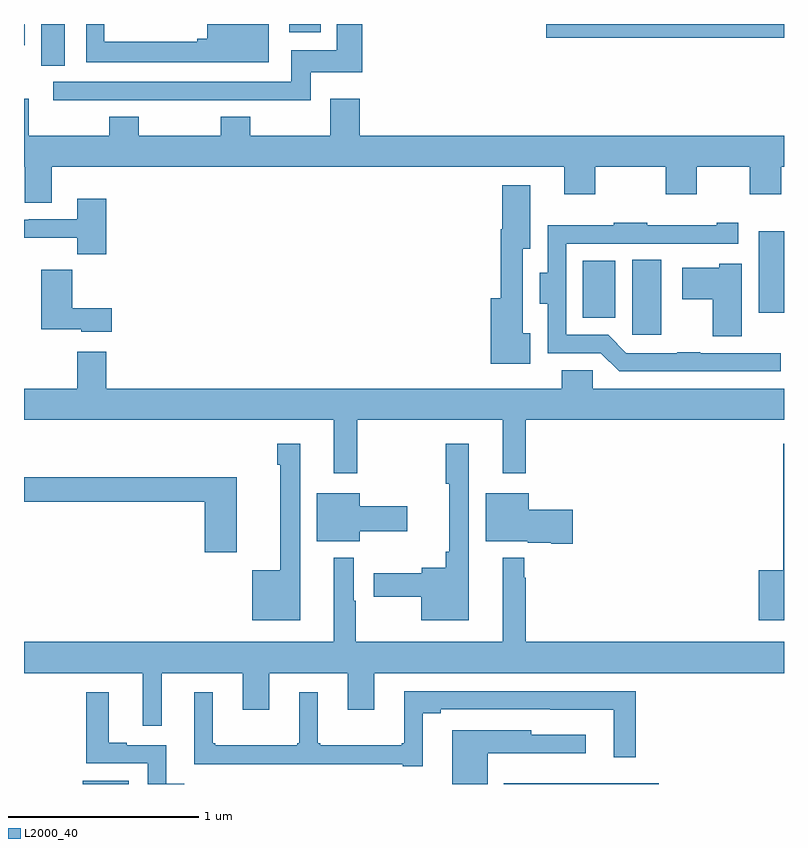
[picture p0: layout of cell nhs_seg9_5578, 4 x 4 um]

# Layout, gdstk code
import gdstk
lib = gdstk.Library(unit=1e-6, precision=1e-09)
def R(c, l, rs):  # rectangles x0, y0, x1, y1
    for r in rs: c.add(gdstk.rectangle(r[:2], r[2:], *l))
def P(c, l, *ps):  # polygons
    for p in ps: c.add(gdstk.Polygon(p, *l))
L2000_40 = (2000, 40)

nhs_seg9_5578 = lib.new_cell('nhs_seg9_5578')
R(nhs_seg9_5578, L2000_40, [(435.308,1198.5,435.55,1198.516), (437.525,1198.5,438.341,1198.504), (438.2,1200.864,438.355,1201.259), (437.942,1200.953,438.112,1201.255), (438.866,1200.981,439,1201.408), (435.092,1202.281,435.214,1202.5), (435,1202.388,435.004,1202.5), (437.749,1202.428,439,1202.5), (436.395,1202.456,436.561,1202.5)])
P(nhs_seg9_5578, L2000_40, [(436.288,1202.5),(435.965,1202.5),(435.965,1202.422),(435.912,1202.422),(435.912,1202.407),(435.422,1202.407),(435.422,1202.5),(435.328,1202.5),(435.328,1202.3),(436.288,1202.3)],
  [(435.947,1202.1),(436.279,1202.1),(436.279,1202.099),(436.51,1202.099),(436.51,1202.246),(436.781,1202.246),(436.781,1202.5),(436.646,1202.5),(436.646,1202.362),(436.406,1202.362),(436.406,1202.196),(435.153,1202.196),(435.153,1202.1),(435.691,1202.1),(435.691,1202.099),(435.947,1202.099)],
  [(435.145,1201.748),(437.843,1201.748),(437.843,1201.605),(438.007,1201.605),(438.007,1201.748),(438.377,1201.748),(438.377,1201.605),(438.541,1201.605),(438.541,1201.748),(438.821,1201.748),(438.821,1201.605),(438.985,1201.605),(438.985,1201.748),(439,1201.748),(439,1201.912),(436.766,1201.912),(436.766,1202.107),(436.613,1202.107),(436.613,1201.912),(436.191,1201.912),(436.191,1202.011),(436.036,1202.011),(436.036,1201.912),(435.603,1201.912),(435.603,1202.011),(435.448,1202.011),(435.448,1201.912),(435.025,1201.912),(435.025,1202.107),(435,1202.107),(435,1201.748),(435.005,1201.748),(435.005,1201.558),(435.145,1201.558)],
  [(437.665,1200.873),(437.625,1200.873),(437.625,1201.316),(437.665,1201.316),(437.665,1201.651),(437.516,1201.651),(437.516,1201.42),(437.509,1201.42),(437.509,1201.057),(437.456,1201.057),(437.456,1200.713),(437.665,1200.713)],
  [(435.434,1201.579),(435.281,1201.579),(435.281,1201.473),(435.025,1201.473),(435.025,1201.47),(435,1201.47),(435,1201.376),(435.279,1201.376),(435.279,1201.289),(435.434,1201.289)],
  [(438.982,1200.768),(438.56,1200.768),(438.56,1200.773),(438.439,1200.773),(438.439,1200.768),(438.171,1200.768),(438.075,1200.864),(437.853,1200.864),(437.853,1201.344),(438.76,1201.344),(438.76,1201.453),(438.647,1201.453),(438.647,1201.441),(438.281,1201.441),(438.281,1201.453),(438.103,1201.453),(438.103,1201.441),(437.757,1201.441),(437.757,1201.192),(437.714,1201.192),(437.714,1201.028),(437.756,1201.028),(437.756,1200.768),(438.036,1200.768),(438.132,1200.672),(438.982,1200.672)],
  [(438.778,1201.237),(438.66,1201.237),(438.66,1201.216),(438.465,1201.216),(438.465,1201.052),(438.626,1201.052),(438.626,1200.857),(438.778,1200.857)],
  [(435.463,1201.003),(435.254,1201.003),(435.254,1201.207),(435.092,1201.207),(435.092,1200.893),(435.3,1200.893),(435.3,1200.881),(435.463,1200.881)],
  [(436.753,1200.416),(437.519,1200.416),(437.519,1200.135),(437.641,1200.135),(437.641,1200.416),(439,1200.416),(439,1200.58),(437.994,1200.58),(437.994,1200.678),(437.831,1200.678),(437.831,1200.58),(435.434,1200.58),(435.434,1200.775),(435.281,1200.775),(435.281,1200.58),(435,1200.58),(435,1200.416),(436.631,1200.416),(436.631,1200.135),(436.753,1200.135)],
  [(436.453,1200.292),(436.332,1200.292),(436.332,1200.179),(436.349,1200.179),(436.349,1199.626),(436.202,1199.626),(436.202,1199.363),(436.453,1199.363)],
  [(437.341,1200.292),(437.22,1200.292),(437.22,1200.079),(437.237,1200.079),(437.237,1199.722),(437.22,1199.722),(437.22,1199.639),(437.094,1199.639),(437.094,1199.608),(436.842,1199.608),(436.842,1199.486),(437.09,1199.486),(437.09,1199.363),(437.341,1199.363)],
  [(439,1200.292),(438.996,1200.292),(438.996,1199.626),(438.866,1199.626),(438.866,1199.363),(439,1199.363)],
  [(436.12,1200.115),(435,1200.115),(435,1199.986),(435.95,1199.986),(435.95,1199.721),(436.12,1199.721)],
  [(436.768,1199.831),(437.017,1199.831),(437.017,1199.961),(436.768,1199.961),(436.768,1200.031),(436.541,1200.031),(436.541,1199.777),(436.768,1199.777)],
  [(437.887,1199.943),(437.656,1199.943),(437.656,1200.031),(437.429,1200.031),(437.429,1199.777),(437.652,1199.777),(437.652,1199.771),(437.774,1199.771),(437.774,1199.765),(437.887,1199.765)],
  [(435.724,1199.084),(436.151,1199.084),(436.151,1198.89),(436.291,1198.89),(436.291,1199.084),(436.703,1199.084),(436.703,1198.89),(436.843,1198.89),(436.843,1199.084),(439,1199.084),(439,1199.248),(437.641,1199.248),(437.641,1199.585),(437.633,1199.585),(437.633,1199.692),(437.519,1199.692),(437.519,1199.248),(436.745,1199.248),(436.745,1199.465),(436.735,1199.465),(436.735,1199.692),(436.631,1199.692),(436.631,1199.248),(435,1199.248),(435,1199.084),(435.626,1199.084),(435.626,1198.806),(435.724,1198.806)],
  [(437.098,1198.873),(437.194,1198.873),(437.194,1198.893),(437.77,1198.893),(437.77,1198.892),(438.104,1198.892),(438.104,1198.641),(438.221,1198.641),(438.221,1198.989),(437,1198.989),(437,1198.714),(436.989,1198.714),(436.989,1198.703),(436.558,1198.703),(436.558,1198.714),(436.546,1198.714),(436.546,1198.984),(436.448,1198.984),(436.448,1198.714),(436.437,1198.714),(436.437,1198.703),(436.006,1198.703),(436.006,1198.714),(435.994,1198.714),(435.994,1198.984),(435.896,1198.984),(435.896,1198.605),(436.994,1198.605),(436.994,1198.593),(437.098,1198.593)],
  [(435.844,1198.502),(435.748,1198.502),(435.748,1198.704),(435.541,1198.704),(435.541,1198.717),(435.445,1198.717),(435.445,1198.984),(435.327,1198.984),(435.327,1198.608),(435.651,1198.608),(435.651,1198.5),(435.844,1198.5)],
  [(437.44,1198.661),(437.956,1198.661),(437.956,1198.759),(437.67,1198.759),(437.67,1198.783),(437.255,1198.783),(437.255,1198.5),(437.44,1198.5)])

lib.write_gds('nhs_seg9_5578.gds')
